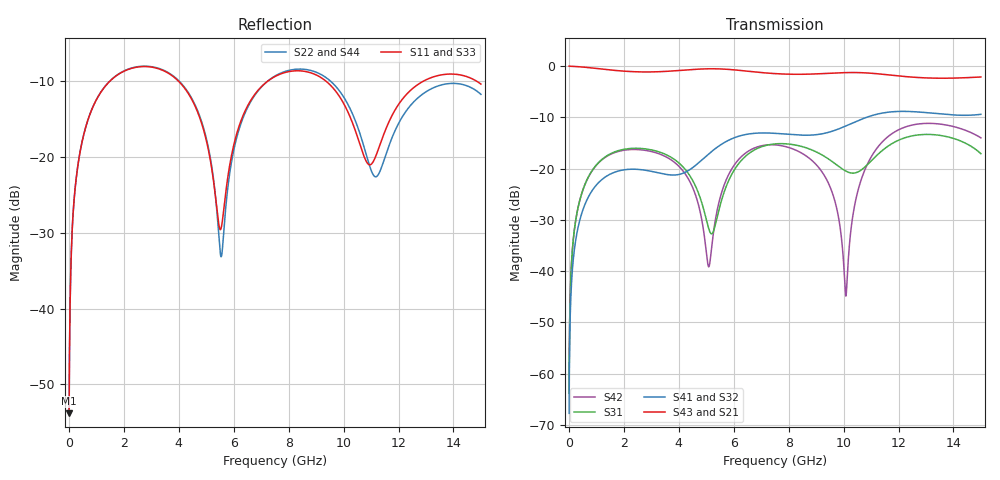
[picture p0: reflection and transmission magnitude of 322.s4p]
! Created with skrf 1.8.0 (http://scikit-rf.org).
# GHz S RI R 50.0
!freq ReS11 ImS11 ReS12 ImS12 ReS13 ImS13
! ReS14 ImS14
! ReS21 ImS21 ReS22 ImS22 ReS23 ImS23
! ReS24 ImS24
! ReS31 ImS31 ReS32 ImS32 ReS33 ImS33
! ReS34 ImS34
! ReS41 ImS41 ReS42 ImS42 ReS43 ImS43
! ReS44 ImS44
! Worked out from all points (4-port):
!   2499 points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, 5 MHz to 15 GHz, reference 50 ohm
!   strongest paths, dB at 5 MHz, 3.476 GHz, 7.19 GHz, 11.1 GHz, 15 GHz:
!     S43: 0.0, -1.0, -1.3, -1.4, -2.1
!     S21: 0.0, -1.0, -1.3, -1.4, -2.1
!     S41: -67.8, -21.1, -13.0, -9.6, -9.4
!     S32: -67.8, -21.1, -13.1, -9.5, -9.4
!     S31: -63.8, -17.1, -15.5, -18.0, -17.1
!     S42: -63.8, -17.6, -15.4, -16.9, -14.0
!   lowest |S11| = -53.8 dB at 5 MHz (marker M1), VSWR 1.00, Z = 50.2 + j0.124 ohm
!   |S11| at or under -10 dB: start of sweep to 1.503 GHz; 3.976 GHz to 7.254 GHz (3.278 GHz wide, 58.4 % of centre); 9.344 GHz to 12.93 GHz (3.586 GHz wide, 32.2 % of centre) (the widest 3 of 4)
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0.005  0.00162 0.00124  0.9983 -0.00316  8.15e-05 0.00064  -7.91e-05 -0.000402
       0.9983 -0.00316  0.00162 0.00124  -7.91e-05 -0.000402  8.13e-05 0.00064
       8.15e-05 0.00064  -7.91e-05 -0.000402  0.00162 0.00124  0.9983 -0.00316
       -7.91e-05 -0.000402  8.13e-05 0.00064  0.9983 -0.00316  0.00162 0.00124
0.3126303  0.0236 0.0814  0.9677 -0.1969  0.011 0.038  -0.00898 -0.0236
           0.9677 -0.1969  0.0237 0.0814  -0.00898 -0.0236  0.0105 0.0381
           0.011 0.038  -0.00898 -0.0236  0.0236 0.0814  0.9677 -0.1969
           -0.00898 -0.0236  0.0105 0.0381  0.9677 -0.1969  0.0237 0.0814
1.519383  0.2604 0.183  0.5688 -0.7182  0.1266 0.0596  -0.0883 -0.00944
          0.5688 -0.7182  0.2625 0.1817  -0.0883 -0.00943  0.1206 0.0672
          0.1266 0.0596  -0.0883 -0.00943  0.2604 0.183  0.5689 -0.7182
          -0.0883 -0.00944  0.1206 0.0672  0.5689 -0.7182  0.2624 0.1817
5.377241  0.0347 -0.0313  -0.9293 -0.1451  -0.0187 0.0259  -0.0214 0.1588
          -0.9293 -0.1451  0.0239 -0.0389  -0.0211 0.1587  0.0136 0.0344
          -0.0187 0.0259  -0.0211 0.1587  0.0357 -0.0296  -0.9294 -0.1449
          -0.0214 0.1588  0.0136 0.0344  -0.9294 -0.1449  0.0225 -0.0375
8.597332  0.363 -0.0352  0.0215 0.8328  0.115 -0.1123  0.2027 -0.0608
          0.0215 0.8328  0.3738 -0.0417  0.2023 -0.0608  0.1193 -0.0634
          0.115 -0.1123  0.2023 -0.0608  0.3635 -0.0373  0.0203 0.8326
          0.2027 -0.0608  0.1193 -0.0634  0.0203 0.8326  0.3745 -0.0384
10.08545  0.1641 -0.131  0.6442 0.5758  -0.0705 -0.0628  0.1693 -0.1985
          0.6442 0.5758  0.1685 -0.162  0.1694 -0.1985  -0.00547 -0.00158
          -0.0705 -0.0628  0.1694 -0.1985  0.1625 -0.1325  0.6429 0.5773
          0.1693 -0.1985  -0.00547 -0.00158  0.6429 0.5773  0.1709 -0.1597
15  0.2591 -0.1531  -0.2769 -0.732  0.0995 -0.0983  -0.2938 0.1678
    -0.2769 -0.732  0.23 -0.1163  -0.2936 0.1693  0.0734 -0.1855
    0.0995 -0.0983  -0.2936 0.1693  0.2604 -0.1489  -0.272 -0.7342
    -0.2938 0.1678  0.0734 -0.1855  -0.272 -0.7342  0.2295 -0.1169
